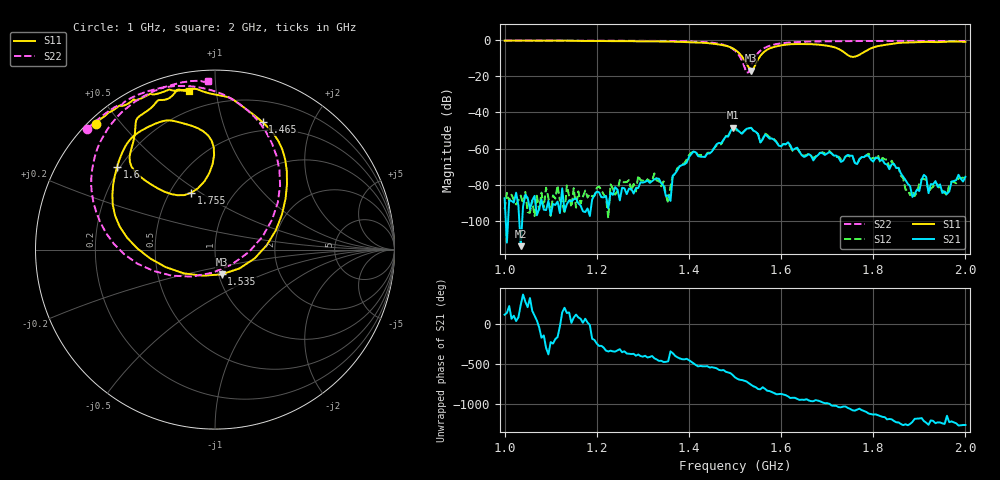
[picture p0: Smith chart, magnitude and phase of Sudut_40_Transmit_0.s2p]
# Hz S RI R 50
! CMT, C1220, 16058040, 17.2.0/1
! Date: 15/08/2018 09:00:04
! Data: Format (Calibration Info)
! Freq  S11: Re/Im (F2)  S21: Re/Im (F2)  S12: Re/Im (F2)  S22: Re/Im (F2)
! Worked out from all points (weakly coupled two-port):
!   201 points, 1 GHz to 2 GHz, reference 50 ohm
!   highest |S21| = -48.38 dB at 1.495 GHz (marker M1); lowest = -114.0 dB at 1.035 GHz (marker M2)
!   lowest |S11| = -16.9 dB at 1.535 GHz (marker M3), VSWR 1.33, Z = 51.7 - j14.6 ohm
!   |S11| at or under -10 dB: 1.518 GHz to 1.552 GHz (33.95 MHz wide, 2.21 % of centre)
!   |S22| runs from -18.1 to -0.2 dB; largest |S21 - S12| = 0.00025
!   S11 on the Smith chart (normalised r, x): 1 GHz: 0.02, +0.43; 1.465 GHz: 0.41, +1.36; 1.535 GHz: 1.03, -0.29; 1.6 GHz: 0.19, +0.35; 1.755 GHz: 0.64, +0.46; 2 GHz: 0.09, +0.85
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1e9  -0.6643 0.7011  -1.71e-05 3.89e-05  -1.99e-05 7.23e-06  -0.711 0.6717
1.035e9  -0.6516 0.7199  -1.16e-06 -1.63e-06  3.27e-06 -5.02e-05  -0.6844 0.6976
1.17e9  -0.485 0.8131  1.8e-05 4.33e-06  2.14e-05 4.21e-05  -0.5591 0.7934
1.335e9  -0.2282 0.8856  -2.52e-05 -0.000144  -3.31e-05 -0.000123  -0.3267 0.8954
1.36e9  -0.1355 0.8938  3.41e-05 1.12e-05  8.68e-05 2.87e-05  -0.2698 0.9057
1.405e9  -0.0105 0.866  -0.000249 -0.000656  -0.000301 -0.000709  -0.1317 0.9095
1.435e9  0.1077 0.8311  -0.000575 -0.000124  -0.000605 -4.81e-05  0.00473 0.8798
1.465e9  0.2657 0.7097  -0.00123 0.000749  -0.00108 0.000748  0.1865 0.7718
1.495e9  0.4 0.4384  0.00035 0.00379  0.000469 0.00358  0.359 0.444
1.5e9  0.4012 0.365  0.00213 0.00313  0.00204 0.00294  0.3626 0.3574
1.525e9  0.2212 -0.0489  0.00351 0.000281  0.00352 0.000342  0.0924 -0.0837
1.535e9  0.0362 -0.138  0.00299 -0.00226  0.00302 -0.00226  -0.1296 -0.1506
1.555e9  -0.3621 -0.0488  -6.63e-05 -0.00148  -3.05e-05 -0.00149  -0.5066 -0.025
1.565e9  -0.4899 0.0665  0.000137 -0.00241  0.000186 -0.00259  -0.6082 0.0937
1.6e9  -0.5461 0.4602  -0.00101 -0.000584  -0.00102 -0.000564  -0.6854 0.4391
1.67e9  -0.2619 0.72  -0.000232 0.000409  -0.000293 0.000467  -0.5516 0.731
1.755e9  -0.132 0.317  0.000629 7.74e-05  0.000592 5.52e-05  -0.3976 0.854
1.81e9  -0.4745 0.4898  0.000328 -0.000446  0.000278 -0.000626  -0.3098 0.895
1.835e9  -0.4504 0.6226  -5.27e-05 -0.000265  -0.000146 -0.000264  -0.2742 0.9078
1.855e9  -0.4414 0.7102  -0.000236 -0.000168  -0.000296 -5.25e-06  -0.244 0.917
1.87e9  -0.4199 0.7443  -0.000132 -3.16e-05  -6.99e-05 -1.98e-05  -0.2216 0.9224
2e9  -0.1435 0.885  -0.000165 -1.18e-05  -0.000183 -8.95e-06  -0.0389 0.9417
